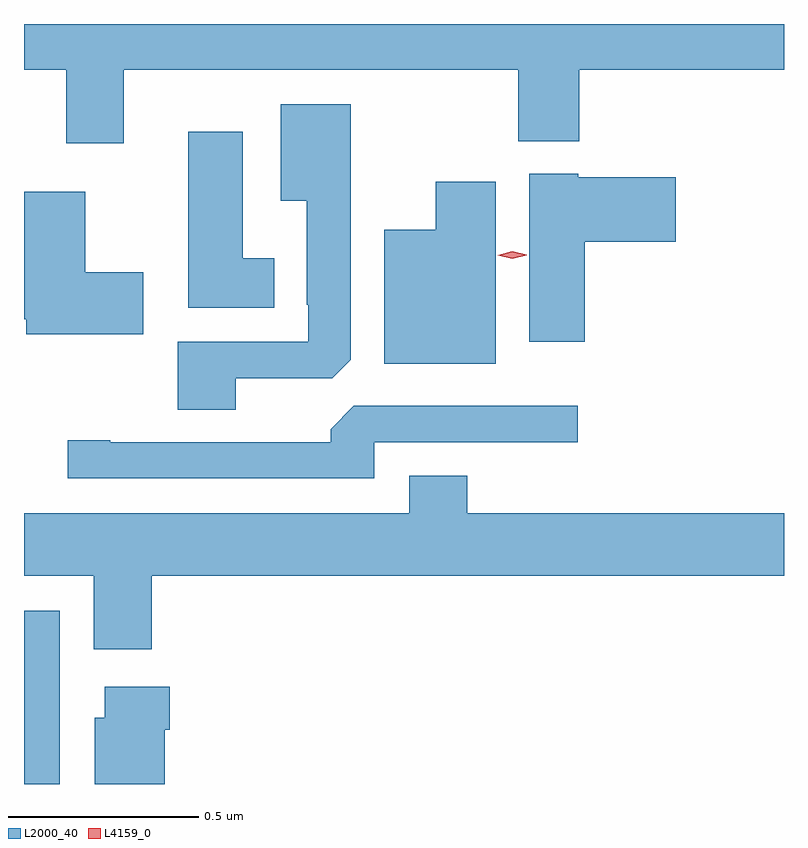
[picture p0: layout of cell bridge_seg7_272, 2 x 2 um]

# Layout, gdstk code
import gdstk
lib = gdstk.Library(unit=1e-6, precision=1e-09)
def R(c, l, rs):  # rectangles x0, y0, x1, y1
    for r in rs: c.add(gdstk.rectangle(r[:2], r[2:], *l))
def P(c, l, *ps):  # polygons
    for p in ps: c.add(gdstk.Polygon(p, *l))
L2000_40 = (2000, 40)
L4159_0 = (4159, 0)

bridge_seg7_272 = lib.new_cell('bridge_seg7_272')
R(bridge_seg7_272, L2000_40, [(149.591,1024.044,149.685,1024.5)])
P(bridge_seg7_272, L2000_40, [(149.854,1025.924),(150.892,1025.924),(150.892,1025.735),(151.052,1025.735),(151.052,1025.924),(151.591,1025.924),(151.591,1026.044),(149.591,1026.044),(149.591,1025.924),(149.702,1025.924),(149.702,1025.73),(149.854,1025.73)],
  [(150.148,1025.112),(150.402,1025.112),(150.451,1025.161),(150.451,1025.833),(150.266,1025.833),(150.266,1025.579),(150.335,1025.579),(150.335,1025.305),(150.339,1025.305),(150.339,1025.208),(149.996,1025.208),(149.996,1025.029),(150.148,1025.029)],
  [(150.25,1025.428),(150.166,1025.428),(150.166,1025.761),(150.023,1025.761),(150.023,1025.297),(150.25,1025.297)],
  [(151.067,1025.471),(151.306,1025.471),(151.306,1025.641),(151.05,1025.641),(151.05,1025.65),(150.92,1025.65),(150.92,1025.208),(151.067,1025.208)],
  [(150.832,1025.629),(150.674,1025.629),(150.674,1025.503),(150.539,1025.503),(150.539,1025.15),(150.832,1025.15)],
  [(149.905,1025.391),(149.752,1025.391),(149.752,1025.602),(149.591,1025.602),(149.591,1025.267),(149.597,1025.267),(149.597,1025.228),(149.905,1025.228)],
  [(150.513,1024.944),(151.048,1024.944),(151.048,1025.04),(150.459,1025.04),(150.398,1024.978),(150.398,1024.944),(149.818,1024.944),(149.818,1024.949),(149.706,1024.949),(149.706,1024.848),(150.513,1024.848)],
  [(149.927,1024.592),(151.591,1024.592),(151.591,1024.756),(150.758,1024.756),(150.758,1024.855),(150.605,1024.855),(150.605,1024.756),(149.591,1024.756),(149.591,1024.592),(149.774,1024.592),(149.774,1024.398),(149.927,1024.398)],
  [(149.962,1024.187),(149.975,1024.187),(149.975,1024.3),(149.804,1024.3),(149.804,1024.218),(149.777,1024.218),(149.777,1024.044),(149.962,1024.044)])
P(bridge_seg7_272, L4159_0, [(150.876,1025.426),(150.838,1025.435),(150.838,1025.435),(150.838,1025.435),(150.876,1025.446),(150.914,1025.437),(150.914,1025.437),(150.914,1025.436)])

lib.write_gds('bridge_seg7_272.gds')
